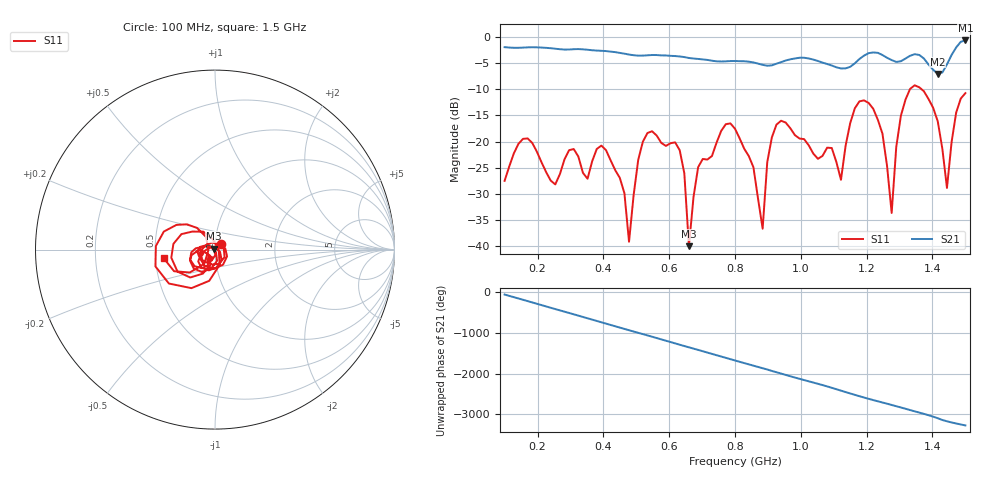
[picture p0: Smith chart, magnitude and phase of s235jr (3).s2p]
! NanoVNA-App
! Date: 2025-09-25 15:04:11
! Start: 100MHz Stop: 1,5GHz Points: 101
! S-Parameter data: F S11 S21 S12 S22
# Hz S RI R 50
!  Frequency  S11_Real  S11_Imag  S21_Real  S21_Imag  S12_Real  S12_Imag  S22_Real  S22_Imag
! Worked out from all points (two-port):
!   101 points, 100 MHz to 1.5 GHz, reference 50 ohm
!   highest |S21| = -0.68 dB at 1.5 GHz (marker M1); lowest = -7.1 dB at 1.416 GHz (marker M2)
!   |S21| within 3 dB of the highest: start of sweep to 622.1 MHz; 1.19 GHz to 1.254 GHz (64.06 MHz wide, 5.24 % of centre) (the widest 2 of 4)
!   lowest |S11| = -40.0 dB at 660 MHz (marker M3), VSWR 1.02, Z = 49.2 + j0.596 ohm
!   |S11| at or under -10 dB: start of sweep to 1.332 GHz; 1.367 GHz to end of sweep
!   S12 and S22 are empty: the file has one direction only
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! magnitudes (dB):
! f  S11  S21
! 100 MHz  -27.5  -2.0
! 156 MHz  -19.5  -2.0
! 338 MHz  -26.0  -2.4
! 408 MHz  -21.6  -2.7
! 478 MHz  -39.1  -3.4
! 520 MHz  -20.0  -3.6
! 576 MHz  -20.2  -3.5
! 632 MHz  -21.6  -3.7
! 660 MHz  -40.0  -4.0
! 688 MHz  -24.9  -4.2
! 800 MHz  -17.5  -4.6
! 884 MHz  -36.6  -5.3
! 926 MHz  -16.8  -5.1
! 1.038 GHz  -22.3  -4.3
! 1.122 GHz  -27.3  -6.0
! 1.206 GHz  -12.6  -3.1
! 1.248 GHz  -18.5  -3.5
! 1.276 GHz  -33.6  -4.4
! 1.332 GHz  -9.9  -3.6
! 1.416 GHz  -16.1  -7.1
! 1.444 GHz  -28.8  -5.3
! 1.5 GHz  -10.7  -0.7
